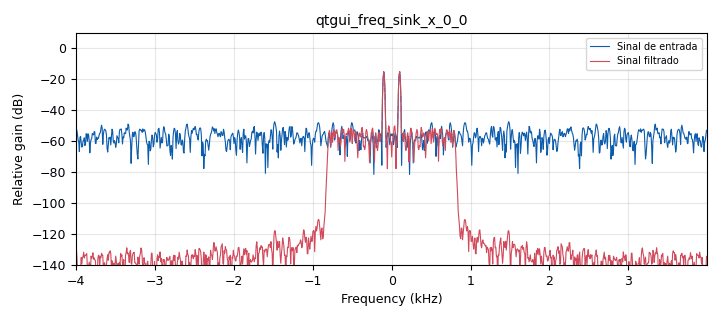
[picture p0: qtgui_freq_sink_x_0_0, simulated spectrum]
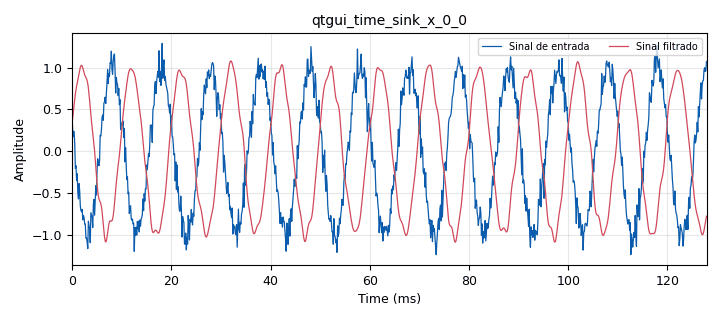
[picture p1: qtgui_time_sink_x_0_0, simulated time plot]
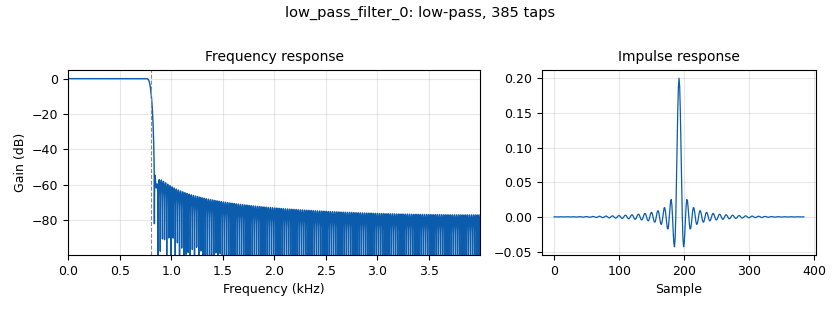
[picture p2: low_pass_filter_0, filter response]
<?xml version='1.0' encoding='utf-8'?>
<?grc format='1' created='3.7.9'?>
<flow_graph>
<block>
<key>options</key>
<param><key>id</key><value>Labo2_2</value></param>
<param><key>author</key><value>Leocarlos B S Lima</value></param>
<param><key>category</key><value>Custom</value></param>
<param><key>description</key><value>Experimento para Laboratório de Princípios de Comunicações. Departamento de Engenharia Elétrica - DEE da Universidade Federal de Campina Grande - UFCG.</value></param>
<param><key>generate_options</key><value>qt_gui</value></param>
<param><key>title</key><value>Relação sinal-ruído</value></param>
</block>
<block>
<key>variable</key>
<param><key>id</key><value>samp_rate</value></param>
<param><key>value</key><value>8000</value></param>
</block>
<block>
<key>analog_noise_source_x</key>
<param><key>id</key><value>analog_noise_source_x_0</value></param>
<param><key>amp</key><value>0.1</value></param>
<param><key>noise_type</key><value>analog.GR_GAUSSIAN</value></param>
<param><key>type</key><value>float</value></param>
<param><key>seed</key><value>0</value></param>
</block>
<block>
<key>analog_sig_source_x</key>
<param><key>id</key><value>analog_sig_source_x_0</value></param>
<param><key>amp</key><value>1</value></param>
<param><key>freq</key><value>100</value></param>
<param><key>offset</key><value>0</value></param>
<param><key>type</key><value>float</value></param>
<param><key>samp_rate</key><value>samp_rate</value></param>
<param><key>waveform</key><value>analog.GR_COS_WAVE</value></param>
</block>
<block>
<key>blocks_add_xx</key>
<param><key>id</key><value>blocks_add_xx_0</value></param>
<param><key>type</key><value>float</value></param>
</block>
<block>
<key>blocks_throttle</key>
<param><key>id</key><value>blocks_throttle_0</value></param>
<param><key>samples_per_second</key><value>samp_rate</value></param>
<param><key>type</key><value>float</value></param>
</block>
<block>
<key>low_pass_filter</key>
<param><key>id</key><value>low_pass_filter_0</value></param>
<param><key>cutoff_freq</key><value>800</value></param>
<param><key>decim</key><value>1</value></param>
<param><key>type</key><value>fir_filter_fff</value></param>
<param><key>gain</key><value>1</value></param>
<param><key>samp_rate</key><value>samp_rate</value></param>
<param><key>width</key><value>50</value></param>
<param><key>win</key><value>firdes.WIN_HAMMING</value></param>
</block>
<block>
<key>qtgui_freq_sink_x</key>
<param><key>id</key><value>qtgui_freq_sink_x_0_0</value></param>
<param><key>bw</key><value>samp_rate</value></param>
<param><key>fc</key><value>0</value></param>
<param><key>fftsize</key><value>1024</value></param>
<param><key>grid</key><value>True</value></param>
<param><key>label1</key><value>Sinal de entrada</value></param>
<param><key>label2</key><value>Sinal filtrado</value></param>
<param><key>nconnections</key><value>2</value></param>
<param><key>showports</key><value>True</value></param>
<param><key>type</key><value>float</value></param>
<param><key>wintype</key><value>firdes.WIN_BLACKMAN_hARRIS</value></param>
</block>
<block>
<key>qtgui_time_sink_x</key>
<param><key>id</key><value>qtgui_time_sink_x_0_0</value></param>
<param><key>autoscale</key><value>True</value></param>
<param><key>grid</key><value>True</value></param>
<param><key>color1</key><value>"blue"</value></param>
<param><key>label1</key><value>Sinal de entrada</value></param>
<param><key>color2</key><value>"red"</value></param>
<param><key>label2</key><value>Sinal filtrado</value></param>
<param><key>nconnections</key><value>2</value></param>
<param><key>size</key><value>1024</value></param>
<param><key>srate</key><value>samp_rate</value></param>
<param><key>type</key><value>float</value></param>
</block>
<connection><source_block_id>analog_noise_source_x_0</source_block_id><sink_block_id>blocks_add_xx_0</sink_block_id><source_key>0</source_key><sink_key>1</sink_key></connection>
<connection><source_block_id>analog_sig_source_x_0</source_block_id><sink_block_id>blocks_throttle_0</sink_block_id><source_key>0</source_key><sink_key>0</sink_key></connection>
<connection><source_block_id>blocks_add_xx_0</source_block_id><sink_block_id>low_pass_filter_0</sink_block_id><source_key>0</source_key><sink_key>0</sink_key></connection>
<connection><source_block_id>blocks_add_xx_0</source_block_id><sink_block_id>qtgui_freq_sink_x_0_0</sink_block_id><source_key>0</source_key><sink_key>0</sink_key></connection>
<connection><source_block_id>blocks_add_xx_0</source_block_id><sink_block_id>qtgui_time_sink_x_0_0</sink_block_id><source_key>0</source_key><sink_key>0</sink_key></connection>
<connection><source_block_id>blocks_throttle_0</source_block_id><sink_block_id>blocks_add_xx_0</sink_block_id><source_key>0</source_key><sink_key>0</sink_key></connection>
<connection><source_block_id>low_pass_filter_0</source_block_id><sink_block_id>qtgui_freq_sink_x_0_0</sink_block_id><source_key>0</source_key><sink_key>1</sink_key></connection>
<connection><source_block_id>low_pass_filter_0</source_block_id><sink_block_id>qtgui_time_sink_x_0_0</sink_block_id><source_key>0</source_key><sink_key>1</sink_key></connection>
</flow_graph>
